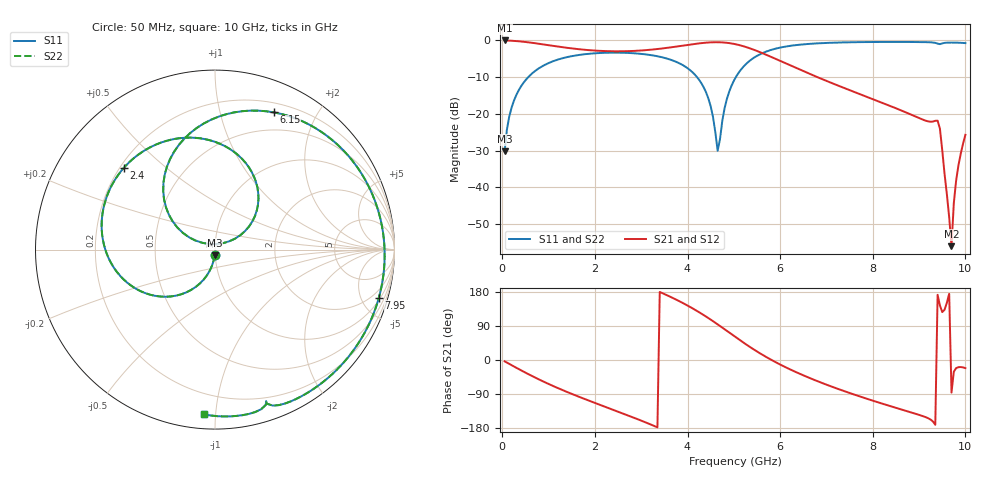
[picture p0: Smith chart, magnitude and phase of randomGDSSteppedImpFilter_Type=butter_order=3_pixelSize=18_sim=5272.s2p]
! freq	dB(S11)	phase(S11)	dB(S12)	phase(S12)
!  dB(S21)	phase(S21)	dB(S22)	phase(S22)
!S-par simulation data
#  GHz  S  DB  R 50
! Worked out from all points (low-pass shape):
!   200 points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, 50 MHz to 10 GHz, reference 50 ohm
!   highest |S21| = -0.01 dB at 50 MHz (marker M1); lowest = -56.0 dB at 9.7 GHz (marker M2)
!   |S21| within 3 dB of the highest: start of sweep to 5.528 GHz
!   lowest |S11| = -30.2 dB at 50 MHz (marker M3), VSWR 1.06, Z = 49.7 - j3.07 ohm
!   |S11| at or under -10 dB: start of sweep to 559.6 MHz; 4.206 GHz to 5.043 GHz (836.5 MHz wide, 18.1 % of centre)
!   |S22| runs from -30.2 to -0.4 dB; largest |S21 - S12| = 0
!   S11 on the Smith chart (normalised r, x): 50 MHz: 0.99, -0.06; 2.4 GHz: 0.22, +0.37; 6.15 GHz: 0.30, +1.47; 7.95 GHz: 1.18, -6.72; 10 GHz: 0.08, -0.93
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0.05  -30.19 -93.5  -0.01 -3.5  -0.01 -3.5  -30.19 -93.5
0.2  -18.29 -104.1  -0.09 -13.7  -0.09 -13.7  -18.29 -104.1
0.5  -10.84 -123.9  -0.42 -33.4  -0.42 -33.4  -10.84 -123.9
1.05  -5.89 -156.6  -1.39 -66.0  -1.39 -66.0  -5.89 -156.6
1.75  -3.80 168.0  -2.51 -101.5  -2.51 -101.5  -3.80 167.9
2.4  -3.32 138.0  -2.95 -131.7  -2.95 -131.7  -3.32 138.0
3.4  -4.43 89.9  -2.27 179.6  -2.27 179.6  -4.43 89.9
4.3  -11.65 37.1  -0.73 122.3  -0.73 122.3  -11.66 37.0
4.5  -17.91 28.8  -0.53 106.6  -0.53 106.6  -17.92 28.6
4.65  -30.02 78.9  -0.49 94.1  -0.49 94.1  -30.15 78.7
4.85  -15.89 154.5  -0.64 76.8  -0.64 76.8  -15.90 154.7
5.05  -9.84 142.8  -1.07 59.4  -1.07 59.4  -9.84 142.9
5.5  -4.20 109.1  -2.87 22.5  -2.87 22.5  -4.20 109.1
6.15  -1.60 66.9  -6.41 -21.0  -6.41 -21.0  -1.60 66.9
6.7  -0.88 37.7  -9.44 -50.7  -9.44 -50.7  -0.88 37.7
7.95  -0.43 -16.4  -15.72 -105.4  -15.72 -105.4  -0.43 -16.5
8.35  -0.41 -31.8  -17.68 -120.7  -17.68 -120.7  -0.41 -31.8
9.4  -0.87 -71.4  -21.83 172.0  -21.83 172.0  -0.86 -71.4
9.45  -1.01 -71.4  -24.00 144.0  -24.00 144.0  -1.00 -71.4
9.7  -0.58 -80.4  -55.96 -86.1  -55.96 -86.1  -0.58 -80.4
9.8  -0.60 -84.7  -38.13 -21.4  -38.13 -21.4  -0.60 -84.7
10  -0.72 -93.8  -25.68 -21.4  -25.68 -21.4  -0.72 -93.9
